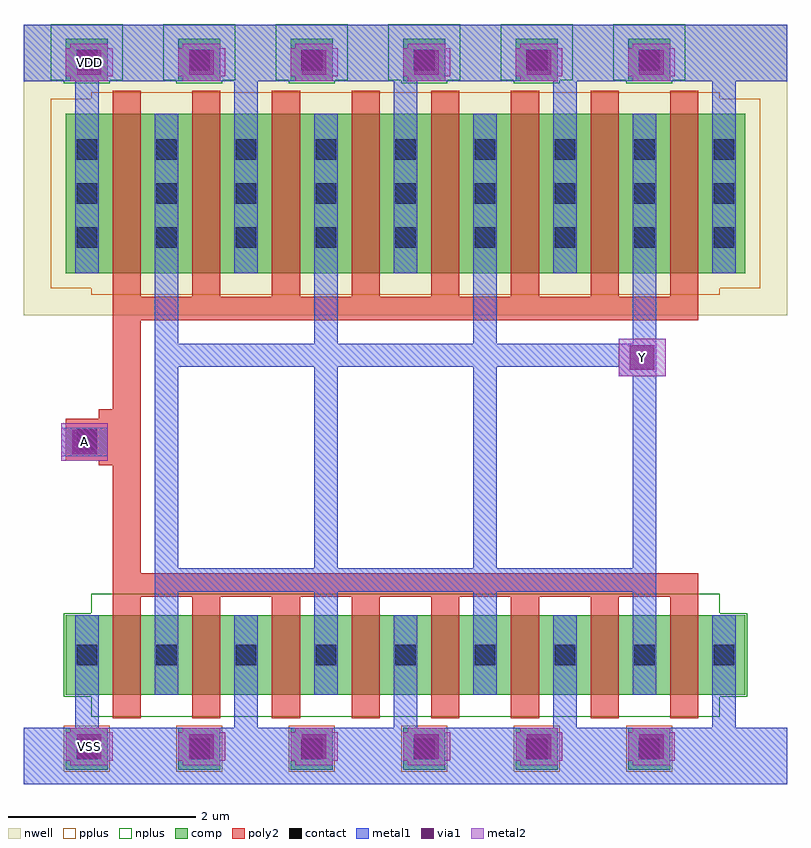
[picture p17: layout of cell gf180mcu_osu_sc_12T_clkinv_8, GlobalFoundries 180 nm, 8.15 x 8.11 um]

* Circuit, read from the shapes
.subckt gf180mcu_osu_sc_12T_clkinv_8 A VDD VSS Y
XM1 Y A VSS VSS nfet_03v3 w=0.85u l=0.3u m=8
XM2 Y A VDD VDD pfet_03v3 w=1.7u l=0.3u m=8
.ends

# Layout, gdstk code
import gdstk
lib = gdstk.Library(unit=1e-6, precision=1e-09)
def R(c, l, rs):  # rectangles x0, y0, x1, y1
    for r in rs: c.add(gdstk.rectangle(r[:2], r[2:], *l))
def A(c, l, x, y, w, h, nx, ny, dx, dy):  # array of equal rectangles
    R(c, l, [(x+i*dx, y+j*dy, x+i*dx+w, y+j*dy+h) for i in range(nx) for j in range(ny)])
nwell = (21, 0)
comp = (22, 0)
poly2 = (30, 0)
pplus = (31, 0)
nplus = (32, 0)
contact = (33, 0)
metal1 = (34, 0)
via1 = (35, 0)
metal2 = (36, 0)

gf180mcu_osu_sc_12t_clki = lib.new_cell('gf180mcu_osu_sc_12T_clkinv_8')
R(gf180mcu_osu_sc_12t_clki, nwell, [(0,5,8.15,8.1)])
A(gf180mcu_osu_sc_12t_clki, comp, 0.45, 0.15, 0.45, 0.45, 6, 2, 1.2, 7.35)
R(gf180mcu_osu_sc_12t_clki, comp, [(0.45,0.95,7.7,1.8), (0.45,5.45,7.7,7.15)])
A(gf180mcu_osu_sc_12t_clki, poly2, 0.95, 0.7, 0.3, 1.3, 8, 1, 0.85, 0)
A(gf180mcu_osu_sc_12t_clki, poly2, 0.95, 5.2, 0.3, 2.2, 8, 1, 0.85, 0)
R(gf180mcu_osu_sc_12t_clki, poly2, [(0.95,2,7.2,2.25), (0.95,2.25,1.25,3.4), (0.8,3.4,1.25,3.45), (0.45,3.45,1.25,3.9), (0.8,3.9,1.25,4), (0.95,4,1.25,4.95), (0.95,4.95,7.2,5.2)])
A(gf180mcu_osu_sc_12t_clki, pplus, 0.43, 0.13, 0.49, 0.49, 6, 1, 1.2, 0)
R(gf180mcu_osu_sc_12t_clki, pplus, [(0.72,5.22,7.43,5.29), (0.29,5.29,7.86,7.31), (0.72,7.31,7.43,7.38)])
A(gf180mcu_osu_sc_12t_clki, nplus, 0.43, 7.48, 0.49, 0.03, 6, 1, 1.2, 0)
A(gf180mcu_osu_sc_12t_clki, nplus, 0.29, 7.51, 0.77, 0.6, 6, 1, 1.2, 0)
R(gf180mcu_osu_sc_12t_clki, nplus, [(0.72,0.72,7.43,0.93), (0.43,0.93,7.72,1.82), (0.72,1.82,7.43,2.03)])
A(gf180mcu_osu_sc_12t_clki, contact, 0.565, 0.265, 0.22, 0.22, 6, 2, 1.2, 7.35)
A(gf180mcu_osu_sc_12t_clki, contact, 0.565, 1.265, 0.22, 0.22, 9, 2, 0.85, 4.455)
A(gf180mcu_osu_sc_12t_clki, contact, 0.565, 6.19, 0.22, 0.22, 9, 2, 0.85, 0.47)
R(gf180mcu_osu_sc_12t_clki, contact, [(0.565,3.565,0.785,3.785)])
A(gf180mcu_osu_sc_12t_clki, metal1, 0.55, 0.6, 0.25, 1.2, 5, 1, 1.7, 0)
A(gf180mcu_osu_sc_12t_clki, metal1, 1.4, 0.95, 0.25, 1.1, 4, 1, 1.7, 0)
A(gf180mcu_osu_sc_12t_clki, metal1, 1.4, 2.3, 0.25, 2.15, 3, 1, 1.7, 0)
A(gf180mcu_osu_sc_12t_clki, metal1, 1.4, 4.7, 0.25, 2.45, 4, 1, 1.7, 0)
A(gf180mcu_osu_sc_12t_clki, metal1, 0.55, 5.45, 0.25, 2.05, 5, 1, 1.7, 0)
R(gf180mcu_osu_sc_12t_clki, metal1, [(0,0,8.15,0.6), (1.4,2.05,6.75,2.3), (6.5,2.3,6.75,4.35), (0.4,3.5,0.9,3.8), (6.35,4.35,6.75,4.45), (1.4,4.45,6.75,4.7), (0,7.5,8.15,8.1)])
A(gf180mcu_osu_sc_12t_clki, via1, 0.57, 0.27, 0.26, 0.26, 6, 2, 1.2, 7.3)
R(gf180mcu_osu_sc_12t_clki, via1, [(0.52,3.52,0.78,3.78), (6.47,4.42,6.73,4.68)])
A(gf180mcu_osu_sc_12t_clki, metal2, 0.5, 0.2, 0.4, 0.05, 6, 2, 1.2, 0.35)
A(gf180mcu_osu_sc_12t_clki, metal2, 0.45, 0.25, 0.5, 0.3, 6, 2, 1.2, 7.3)
A(gf180mcu_osu_sc_12t_clki, metal2, 0.5, 7.5, 0.4, 0.05, 6, 2, 1.2, 0.35)
R(gf180mcu_osu_sc_12t_clki, metal2, [(0.4,3.45,0.9,3.85), (6.35,4.35,6.85,4.75)])
gf180mcu_osu_sc_12t_clki.add(gdstk.Label('VDD', (0.7,7.7), layer=36, texttype=0))
gf180mcu_osu_sc_12t_clki.add(gdstk.Label('VSS', (0.7,0.4), layer=36, texttype=0))
gf180mcu_osu_sc_12t_clki.add(gdstk.Label('A', (0.65,3.65), layer=36, texttype=10))
gf180mcu_osu_sc_12t_clki.add(gdstk.Label('Y', (6.6,4.55), layer=36, texttype=10))

lib.write_gds('gf180mcu_osu_sc_12T_clkinv_8.gds')
